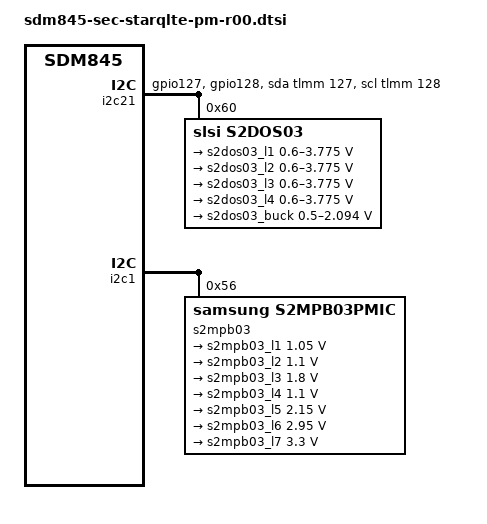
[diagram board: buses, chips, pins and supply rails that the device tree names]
/* Copyright (c) 2014, The Linux Foundation. All rights reserved.
 *
 * This program is free software; you can redistribute it and/or modify
 * it under the terms of the GNU General Public License version 2 and
 * only version 2 as published by the Free Software Foundation.
 *
 * This program is distributed in the hope that it will be useful,
 * but WITHOUT ANY WARRANTY; without even the implied warranty of
 * MERCHANTABILITY or FITNESS FOR A PARTICULAR PURPOSE.  See the
 * GNU General Public License for more details.
 */

&soc {
	tlmm: pinctrl@03400000 {
		s2dos03_i2c_sda {
			s2dos03_i2c_sda_default: s2dos03_i2c_sda_default {
				s2dos03_i2c_sda {
					pins = "gpio127";
					drive-strength = <2>;
					bias-disable;
				};
			};
		};
		s2dos03_i2c_scl {
			s2dos03_i2c_scl_default: s2dos03_i2c_scl_default {
				s2dos03_i2c_scl {
					pins = "gpio128";
					drive-strength = <2>;
					bias-disable;
				};
			};
		};
	};

	/* S2DOS03 Display PMIC */
	i2c21: i2c@21 {
		cell-index = <21>;
		compatible = "i2c-gpio";
		gpios = <&tlmm 127 0 /* sda */
			&tlmm 128 0 /* scl */
		>;
		#i2c-gpio,delay-us = <2>;
		#address-cells = <1>;
		#size-cells = <0>;

		pinctrl-names = "s2dos03_i2c_pins_default";
		pinctrl-0 = <&s2dos03_i2c_sda_default &s2dos03_i2c_scl_default>;

		s2dos03@60 {
			compatible = "slsi,s2dos03";
			reg = <0x60>;

			buck-ramp-up = <0>;		/* 6.25mV/us */
			buck-fpwm = <0>;		/* Disable */

			uvlo-fall-threshold = <0>;	/* 2.30V */

			regulators {
				s2dos03_l1: s2dos03-ldo1 {
					regulator-name = "s2dos03-ldo1";
					regulator-min-microvolt = <600000>;
					regulator-max-microvolt = <3775000>;
					active-discharge-enable = <1>;
				};

				s2dos03_l2: s2dos03-ldo2 {
					regulator-name = "s2dos03-ldo2";
					regulator-min-microvolt = <600000>;
					regulator-max-microvolt = <3775000>;
					active-discharge-enable = <1>;
				};

				s2dos03_l3: s2dos03-ldo3 {
					regulator-name = "s2dos03-ldo3";
					regulator-min-microvolt = <600000>;
					regulator-max-microvolt = <3775000>;
					active-discharge-enable = <1>;
				};

				s2dos03_l4: s2dos03-ldo4 {
					regulator-name = "s2dos03-ldo4";
					regulator-min-microvolt = <600000>;
					regulator-max-microvolt = <3775000>;
					active-discharge-enable = <1>;
				};

				s2dos03_buck: s2dos03-buck {
					regulator-name = "s2dos03-buck";
					regulator-min-microvolt = <500000>;
					regulator-max-microvolt = <2093750>;
					active-discharge-enable = <1>;
				};
			};
		};
	};

	i2c1: i2c@1 {
		/* S2MPB03 Camera PMIC */
		s2mpb03@56 {
			compatible = "samsung,s2mpb03pmic";
			reg = <0x56>;
			additional_reg_init;

			regulators {
				s2mpb03_l1: s2mpb03-ldo1 {
					regulator-name = "s2mpb03-ldo1";
					regulator-min-microvolt = <1050000>;
					regulator-max-microvolt = <1050000>;
				};

				s2mpb03_l2: s2mpb03-ldo2 {
					regulator-name = "s2mpb03-ldo2";
					regulator-min-microvolt = <1100000>;
					regulator-max-microvolt = <1100000>;
				};

				s2mpb03_l3: s2mpb03-ldo3 {
					regulator-name = "s2mpb03-ldo3";
					regulator-min-microvolt = <1800000>;
					regulator-max-microvolt = <1800000>;
				};

				s2mpb03_l4: s2mpb03-ldo4 {
					regulator-name = "s2mpb03-ldo4";
					regulator-min-microvolt = <1100000>;
					regulator-max-microvolt = <1100000>;
				};

				s2mpb03_l5: s2mpb03-ldo5 {
					regulator-name = "s2mpb03-ldo5";
					regulator-min-microvolt = <2150000>;
					regulator-max-microvolt = <2150000>;
				};

				s2mpb03_l6: s2mpb03-ldo6 {
					regulator-name = "s2mpb03-ldo6";
					regulator-min-microvolt = <2950000>;
					regulator-max-microvolt = <2950000>;
				};

				s2mpb03_l7: s2mpb03-ldo7 {
					regulator-name = "s2mpb03-ldo7";
					regulator-min-microvolt = <3300000>;
					regulator-max-microvolt = <3300000>;
				};
			};
		};
	};
};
